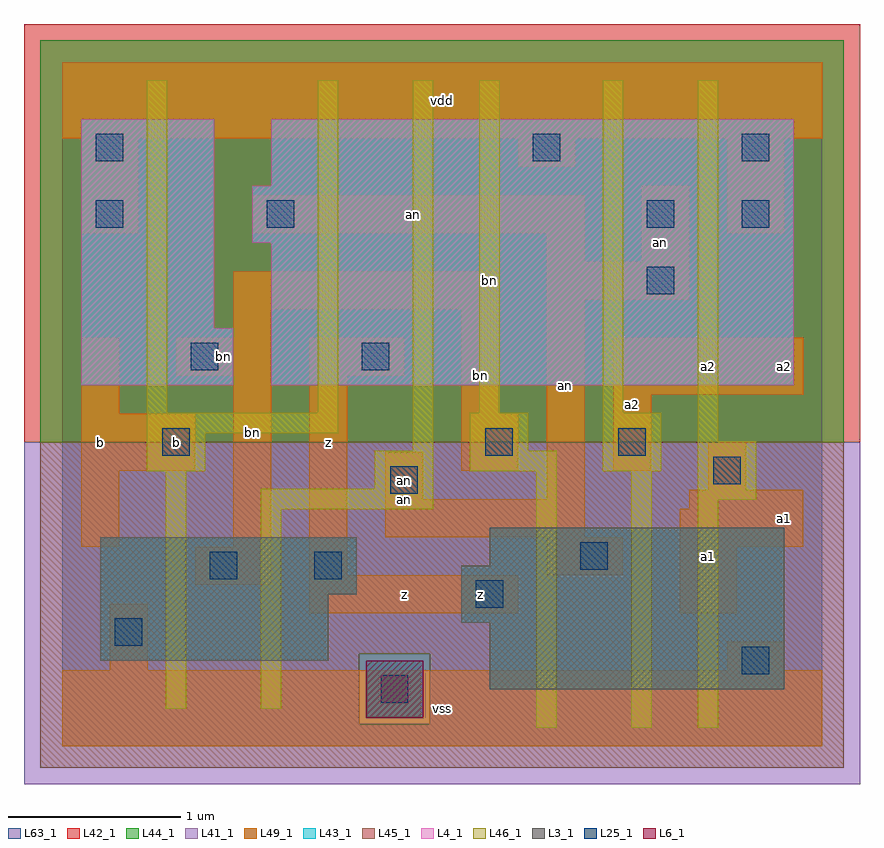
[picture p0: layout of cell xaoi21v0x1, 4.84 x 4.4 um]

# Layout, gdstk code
import gdstk
lib = gdstk.Library(unit=1e-6, precision=1e-09)
def R(c, l, rs):  # rectangles x0, y0, x1, y1
    for r in rs: c.add(gdstk.rectangle(r[:2], r[2:], *l))
L3_1 = (3, 1)
L4_1 = (4, 1)
L6_1 = (6, 1)
L25_1 = (25, 1)
L41_1 = (41, 1)
L42_1 = (42, 1)
L43_1 = (43, 1)
L44_1 = (44, 1)
L45_1 = (45, 1)
L46_1 = (46, 1)
L49_1 = (49, 1)
L63_1 = (63, 1)

xaoi21v0x1 = lib.new_cell('xaoi21v0x1')
R(xaoi21v0x1, L3_1, [(2.475,0.33,4.18,0.715), (0.22,0.495,1.54,0.88), (2.31,0.715,4.18,1.045), (0.22,0.88,1.705,1.21), (2.475,1.045,4.18,1.265)])
R(xaoi21v0x1, L4_1, [(0.11,2.09,0.99,2.42), (1.21,2.09,4.235,2.915), (0.11,2.42,0.88,3.63), (1.1,2.915,4.235,3.245), (1.21,3.245,4.235,3.63)])
R(xaoi21v0x1, L6_1, [(1.76,0.165,2.09,0.495)])
R(xaoi21v0x1, L25_1, [(1.845,0.25,2.005,0.41), (3.935,0.415,4.095,0.575), (0.305,0.58,0.465,0.74), (2.395,0.8,2.555,0.96), (0.855,0.965,1.015,1.125), (1.46,0.965,1.62,1.125), (3,1.02,3.16,1.18), (1.9,1.46,2.06,1.62), (3.77,1.515,3.93,1.675), (0.58,1.68,0.74,1.84), (2.45,1.68,2.61,1.84), (3.22,1.68,3.38,1.84), (0.745,2.175,0.905,2.335), (1.735,2.175,1.895,2.335), (3.385,2.615,3.545,2.775), (0.195,3,0.355,3.16), (1.185,3,1.345,3.16), (3.385,3,3.545,3.16), (3.935,3,4.095,3.16), (0.195,3.385,0.355,3.545), (2.725,3.385,2.885,3.545), (3.935,3.385,4.095,3.545)])
R(xaoi21v0x1, L41_1, [(-0.22,-0.22,4.62,1.76)])
R(xaoi21v0x1, L42_1, [(-0.22,1.76,4.62,4.18)])
R(xaoi21v0x1, L43_1, [(1.76,0.165,2.09,0.495), (2.475,0.33,4.18,0.715), (0.22,0.495,1.54,0.88), (2.31,0.715,4.18,1.045), (0.22,0.88,1.705,1.21), (2.475,1.045,4.18,1.265), (0.11,2.09,0.99,2.42), (1.21,2.09,4.235,2.915), (0.11,2.42,0.88,3.63), (1.1,2.915,4.235,3.245), (1.21,3.245,4.235,3.63)])
R(xaoi21v0x1, L44_1, [(1.72,0.125,2.13,0.535), (-0.125,1.76,4.525,4.085)])
R(xaoi21v0x1, L45_1, [(-0.125,-0.125,4.525,0.125), (-0.125,0.125,1.72,0.535), (2.13,0.125,4.525,0.535), (-0.125,0.535,4.525,1.76)])
R(xaoi21v0x1, L46_1, [(2.745,0.105,2.865,1.59), (3.295,0.105,3.415,1.59), (3.68,0.105,3.8,1.425), (0.6,0.215,0.72,1.59), (1.15,0.215,1.27,1.37), (1.15,1.37,2.15,1.49), (3.68,1.425,4.02,1.765), (1.81,1.49,2.15,1.71), (0.49,1.59,0.83,1.81), (2.36,1.59,2.865,1.71), (3.13,1.59,3.47,1.93), (2.03,1.71,2.15,3.855), (2.36,1.71,2.7,1.93), (3.68,1.765,3.8,3.855), (0.49,1.81,1.6,1.93), (0.49,1.93,0.61,3.855), (1.48,1.93,1.6,3.855), (2.415,1.93,2.535,3.855), (3.13,1.93,3.25,3.855)])
R(xaoi21v0x1, L49_1, [(0,0,4.4,0.44), (0.275,0.44,0.495,0.825), (3.85,0.44,4.18,0.605), (1.43,0.77,2.64,0.99), (3.575,0.77,3.905,1.155), (0.77,0.935,1.21,1.155), (1.43,0.99,1.65,2.145), (2.805,0.99,3.245,1.21), (0.11,1.155,0.33,1.595), (0.99,1.155,1.21,2.145), (3.575,1.155,4.29,1.375), (1.87,1.21,3.025,1.43), (3.63,1.375,4.29,1.485), (1.87,1.43,2.09,1.705), (2.805,1.43,3.025,2.585), (3.74,1.485,3.96,1.76), (0.11,1.595,0.77,1.925), (2.31,1.595,2.64,1.925), (3.19,1.595,3.41,2.035), (0.11,1.925,0.33,2.365), (2.31,1.925,2.53,2.53), (3.19,2.035,4.29,2.365), (0.66,2.145,1.21,2.365), (1.43,2.145,1.98,2.365), (0.99,2.365,1.21,2.53), (0.99,2.53,2.53,2.75), (2.805,2.585,3.63,2.805), (2.805,2.805,3.025,2.97), (3.355,2.805,3.63,3.245), (0.11,2.97,0.44,3.52), (1.1,2.97,3.025,3.19), (3.85,2.97,4.18,3.52), (2.64,3.355,2.97,3.52), (0,3.52,4.4,3.96)])
R(xaoi21v0x1, L63_1, [(0,0,4.4,3.96)])
xaoi21v0x1.add(gdstk.Label('an', (1.98,1.54), layer=49, texttype=1))
xaoi21v0x1.add(gdstk.Label('bn', (2.475,2.695), layer=46, texttype=1))
xaoi21v0x1.add(gdstk.Label('b', (0.22,1.76), layer=49, texttype=1))
xaoi21v0x1.add(gdstk.Label('b', (0.66,1.76), layer=49, texttype=1))
xaoi21v0x1.add(gdstk.Label('z', (1.98,0.88), layer=49, texttype=1))
xaoi21v0x1.add(gdstk.Label('an', (1.98,1.43), layer=49, texttype=1))
xaoi21v0x1.add(gdstk.Label('z', (1.54,1.76), layer=49, texttype=1))
xaoi21v0x1.add(gdstk.Label('bn', (1.1,1.815), layer=49, texttype=1))
xaoi21v0x1.add(gdstk.Label('bn', (0.935,2.255), layer=49, texttype=1))
xaoi21v0x1.add(gdstk.Label('vss', (2.2,0.22), layer=49, texttype=1))
xaoi21v0x1.add(gdstk.Label('z', (2.42,0.88), layer=49, texttype=1))
xaoi21v0x1.add(gdstk.Label('bn', (2.42,2.145), layer=49, texttype=1))
xaoi21v0x1.add(gdstk.Label('an', (2.035,3.08), layer=49, texttype=1))
xaoi21v0x1.add(gdstk.Label('an', (2.915,2.09), layer=49, texttype=1))
xaoi21v0x1.add(gdstk.Label('vdd', (2.2,3.74), layer=49, texttype=1))
xaoi21v0x1.add(gdstk.Label('a1', (3.74,1.1), layer=49, texttype=1))
xaoi21v0x1.add(gdstk.Label('a1', (4.18,1.32), layer=49, texttype=1))
xaoi21v0x1.add(gdstk.Label('a2', (3.74,2.2), layer=49, texttype=1))
xaoi21v0x1.add(gdstk.Label('a2', (4.18,2.2), layer=49, texttype=1))
xaoi21v0x1.add(gdstk.Label('a2', (3.3,1.98), layer=49, texttype=1))
xaoi21v0x1.add(gdstk.Label('an', (3.465,2.915), layer=49, texttype=1))

lib.write_gds('xaoi21v0x1.gds')
